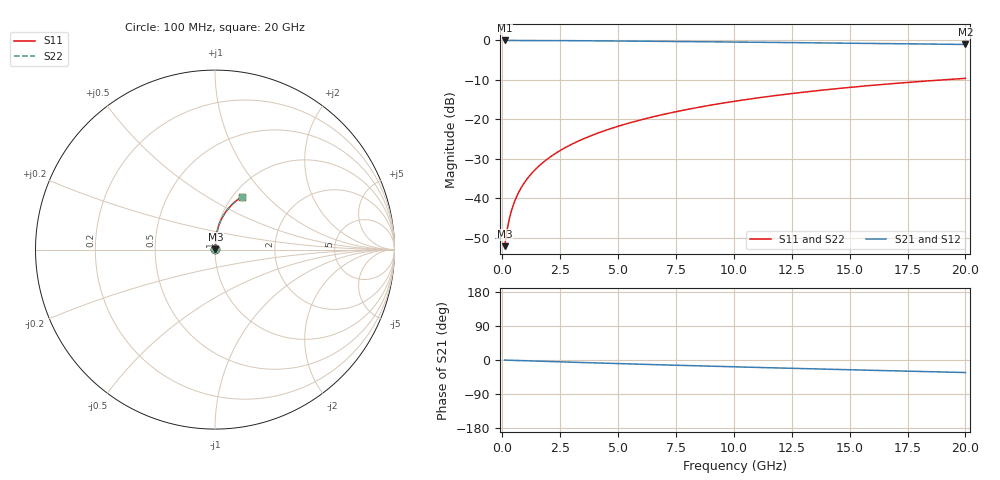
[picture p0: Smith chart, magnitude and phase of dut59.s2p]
! Touchstone file exported from HFSS 2024.1.0
!  File:  C:/UserFiles/LocalFiles/RDL_TSV_Batchsim/temp_RDL_top_59_1778681648.aedt
!  Generated:  10:16:30 PM May 13, 2026
!  Design:  RDL_top
!  Project:  temp_RDL_top_59_1778681648
!  Setup:  Setup1
!  Solution:  Sweep
! Variables:
!  dtsv = 10.80580581um
!  hbump = 3um
!  htsv = 82.52um
!  ldown = 100um
!  lrdl = 445.21um
!  p = 40
!  p1 = 52.35um
!  rhole = 1um
!  t = 450um
!  tdown = 3.915915916um
!  trdl = 4.74um
!  wdown = 15.38538539um
!  wrdl = 20.21um
# GHz S MA R 50.000000
! Terminal data exported
! Port[1] = Box2_T1
! Port[2] = Box2_T2
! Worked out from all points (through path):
!   200 points, 100 MHz to 20 GHz, reference 50 ohm
!   highest |S21| = -0.02 dB at 100 MHz (marker M1); lowest = -1.0 dB at 20 GHz (marker M2)
!   group delay of S21, straight-line fit = 4.56 ps
!   lowest |S11| = -52.1 dB at 100 MHz (marker M3), VSWR 1.00, Z = 50.2 + j0.173 ohm
!   |S11| at or under -10 dB: start of sweep to 19 GHz
!   |S22| runs from -52.1 to -9.6 dB; largest |S21 - S12| = 2.7e-15
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0.1  0.002489 43.8  0.9982 -0.2  0.9982 -0.2  0.002489 43.8
! Gamma 0 0 0 0
! Port Impedance 50 0 50 0
0.2  0.003901 61.6  0.9981 -0.4  0.9981 -0.4  0.003901 61.6
0.3  0.00547 69.2  0.998 -0.6  0.998 -0.6  0.00547 69.2
0.4  0.007068 73.2  0.9978 -0.8  0.9978 -0.8  0.007069 73.2
0.5  0.008664 75.7  0.9977 -1.0  0.9977 -1.0  0.008665 75.7
0.7  0.01183 78.7  0.9975 -1.4  0.9975 -1.4  0.01183 78.6
0.8  0.0134 79.6  0.9974 -1.6  0.9974 -1.6  0.01341 79.6
1  0.01655 81.1  0.9971 -2.0  0.9971 -2.0  0.01655 81.1
1.2  0.01969 82.1  0.9967 -2.4  0.9967 -2.4  0.01969 82.1
1.4  0.02284 82.9  0.9964 -2.7  0.9964 -2.7  0.02284 82.9
1.7  0.02759 83.7  0.9957 -3.3  0.9957 -3.3  0.02759 83.7
2  0.03237 84.2  0.995 -3.9  0.995 -3.9  0.03237 84.2
2.7  0.04365 84.9  0.9928 -5.2  0.9928 -5.2  0.04365 84.9
3.5  0.05674 85.0  0.9898 -6.7  0.9898 -6.7  0.05673 85.0
4.2  0.06838 84.8  0.9867 -8.0  0.9867 -8.0  0.06837 84.8
5  0.08189 84.3  0.9828 -9.5  0.9828 -9.5  0.08187 84.3
6.8  0.1129 82.6  0.9729 -12.6  0.9729 -12.6  0.1129 82.6
8.4  0.141 80.7  0.9635 -15.3  0.9635 -15.3  0.1409 80.6
10.1  0.1709 78.3  0.9531 -18.1  0.9531 -18.1  0.1708 78.2
13.4  0.2277 73.2  0.9322 -23.3  0.9322 -23.3  0.2276 73.2
16.7  0.2814 68.0  0.9104 -28.3  0.9104 -28.3  0.2812 68.0
20  0.3308 63.0  0.8882 -33.1  0.8882 -33.1  0.3306 63.0
